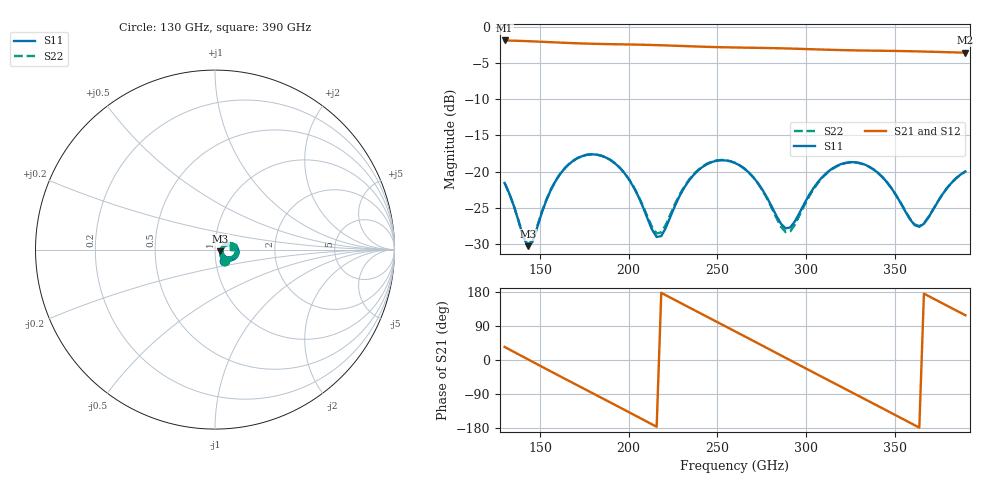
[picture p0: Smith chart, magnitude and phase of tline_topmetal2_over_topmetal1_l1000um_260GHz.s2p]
#  GHZ S DB R 50
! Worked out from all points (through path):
!   101 points, 130 GHz to 390 GHz, reference 50 ohm
!   highest |S21| = -1.90 dB at 130 GHz (marker M1); lowest = -3.6 dB at 390 GHz (marker M2)
!   group delay of S21, straight-line fit = 6.79 ps
!   lowest |S11| = -30.3 dB at 143 GHz (marker M3), VSWR 1.06, Z = 53 - j0.946 ohm
!   |S11| at or under -10 dB: start of sweep to end of sweep
!   |S22| runs from -30.1 to -17.6 dB; largest |S21 - S12| = 8.7e-14
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130  -21.57 -50.6  -1.90 34.5  -1.90 34.5  -21.57 -50.1
143  -30.30 -17.0  -2.00 2.2  -2.00 2.2  -30.09 -16.4
158.6  -21.37 25.4  -2.17 -36.3  -2.17 -36.3  -21.33 25.1
174.2  -17.83 1.1  -2.32 -74.4  -2.32 -74.4  -17.82 1.1
184.6  -17.82 -17.5  -2.39 -99.7  -2.39 -99.7  -17.81 -17.3
195  -19.49 -34.6  -2.43 -125.1  -2.43 -125.1  -19.46 -34.1
208  -24.85 -43.0  -2.49 -157.1  -2.49 -157.1  -24.71 -41.6
213.2  -28.02 -29.9  -2.53 -169.9  -2.53 -169.9  -27.67 -28.5
218.4  -28.90 0.7  -2.57 177.3  -2.57 177.3  -28.39 0.1
228.8  -23.35 25.2  -2.65 151.7  -2.65 151.7  -23.17 23.3
241.8  -19.34 11.6  -2.76 120.0  -2.76 120.0  -19.27 10.0
260  -18.82 -17.9  -2.87 75.7  -2.87 75.7  -18.79 -19.4
275.6  -22.56 -35.8  -2.93 37.5  -2.93 37.5  -22.63 -38.0
288.6  -27.85 -10.4  -3.00 5.6  -3.00 5.6  -28.36 -11.8
304.2  -22.32 22.3  -3.12 -32.6  -3.12 -32.6  -22.48 23.4
317.2  -19.25 7.9  -3.21 -64.3  -3.21 -64.3  -19.31 8.7
327.6  -18.71 -8.0  -3.27 -89.5  -3.27 -89.5  -18.75 -7.4
338  -19.67 -23.5  -3.31 -114.8  -3.31 -114.8  -19.69 -22.9
348.4  -22.34 -33.8  -3.34 -140.2  -3.34 -140.2  -22.33 -33.2
364  -27.62 -4.9  -3.42 -178.5  -3.42 -178.5  -27.53 -4.7
377  -23.18 20.6  -3.50 149.7  -3.50 149.7  -23.15 20.5
390  -20.00 9.1  -3.59 118.1  -3.59 118.1  -19.99 9.2
